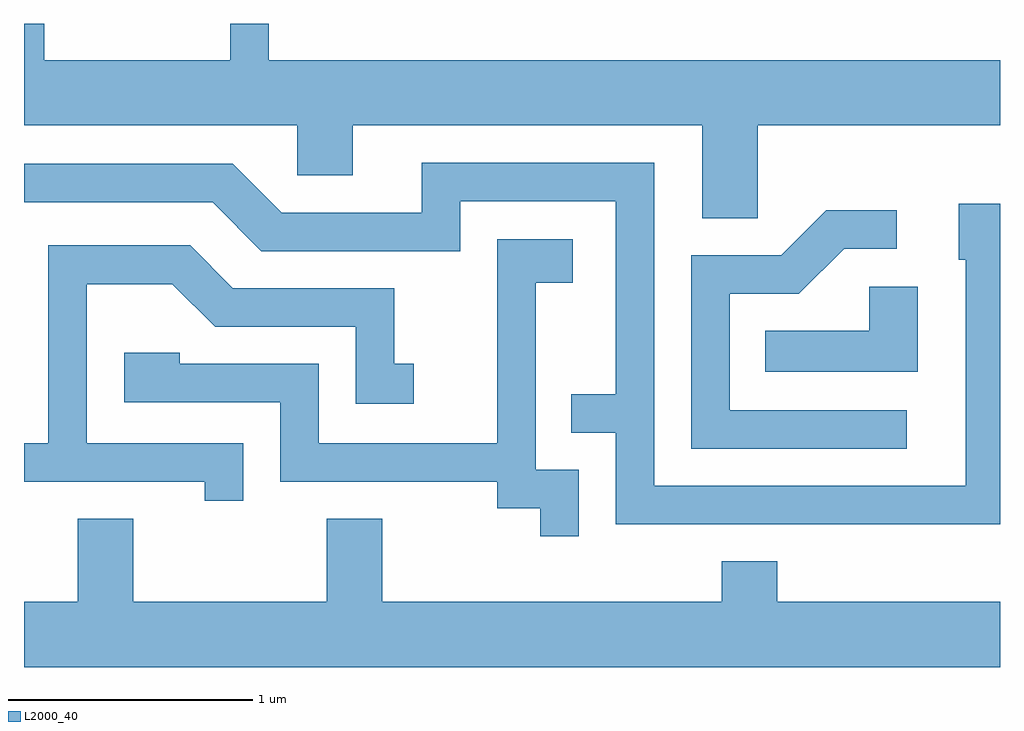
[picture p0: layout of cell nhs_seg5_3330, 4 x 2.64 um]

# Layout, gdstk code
import gdstk
lib = gdstk.Library(unit=1e-6, precision=1e-09)
def P(c, l, *ps):  # polygons
    for p in ps: c.add(gdstk.Polygon(p, *l))
L2000_40 = (2000, 40)

nhs_seg5_3330 = lib.new_cell('nhs_seg5_3330')
P(nhs_seg5_3330, L2000_40, [(286.619,1485.656),(287.611,1485.656),(287.611,1485.924),(284.614,1485.924),(284.614,1486.072),(284.456,1486.072),(284.456,1485.924),(283.694,1485.924),(283.694,1486.072),(283.611,1486.072),(283.611,1485.656),(284.731,1485.656),(284.731,1485.451),(284.959,1485.451),(284.959,1485.656),(286.391,1485.656),(286.391,1485.276),(286.619,1485.276)],
  [(287.611,1485.334),(287.441,1485.334),(287.441,1485.106),(287.471,1485.106),(287.471,1484.179),(286.194,1484.179),(286.194,1485.504),(285.241,1485.504),(285.241,1485.299),(284.667,1485.299),(284.467,1485.499),(283.611,1485.499),(283.611,1485.341),(284.384,1485.341),(284.584,1485.141),(285.399,1485.141),(285.399,1485.346),(286.036,1485.346),(286.036,1484.554),(285.853,1484.554),(285.853,1484.396),(286.036,1484.396),(286.036,1484.021),(287.611,1484.021)],
  [(287.228,1484.489),(286.504,1484.489),(286.504,1484.966),(286.787,1484.966),(286.972,1485.151),(287.188,1485.151),(287.188,1485.309),(286.899,1485.309),(286.714,1485.124),(286.346,1485.124),(286.346,1484.331),(287.228,1484.331)],
  [(285.884,1484.244),(285.709,1484.244),(285.709,1485.011),(285.859,1485.011),(285.859,1485.189),(285.551,1485.189),(285.551,1484.354),(284.819,1484.354),(284.819,1484.679),(284.249,1484.679),(284.249,1484.724),(284.021,1484.724),(284.021,1484.521),(284.661,1484.521),(284.661,1484.196),(285.551,1484.196),(285.551,1484.086),(285.726,1484.086),(285.726,1483.973),(285.884,1483.973)],
  [(284.509,1484.354),(283.869,1484.354),(283.869,1485.006),(284.219,1485.006),(284.394,1484.831),(284.971,1484.831),(284.971,1484.516),(285.208,1484.516),(285.208,1484.679),(285.129,1484.679),(285.129,1484.989),(284.467,1484.989),(284.292,1485.164),(283.711,1485.164),(283.711,1484.354),(283.611,1484.354),(283.611,1484.196),(284.351,1484.196),(284.351,1484.118),(284.509,1484.118)],
  [(287.274,1484.994),(287.076,1484.994),(287.076,1484.814),(286.648,1484.814),(286.648,1484.646),(287.274,1484.646)],
  [(287.611,1483.704),(286.699,1483.704),(286.699,1483.869),(286.471,1483.869),(286.471,1483.704),(285.079,1483.704),(285.079,1484.044),(284.851,1484.044),(284.851,1483.704),(284.059,1483.704),(284.059,1484.044),(283.831,1484.044),(283.831,1483.704),(283.611,1483.704),(283.611,1483.436),(287.611,1483.436)])

lib.write_gds('nhs_seg5_3330.gds')
